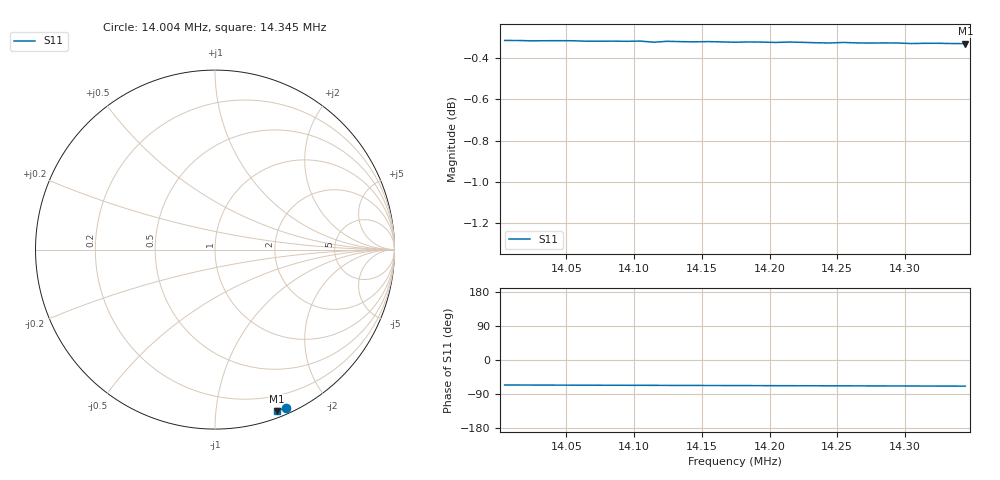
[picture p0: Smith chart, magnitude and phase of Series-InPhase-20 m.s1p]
# HZ S RI R 50
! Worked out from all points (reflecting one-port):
!   35 points, 14.004 MHz to 14.345 MHz, reference 50 ohm
!   lowest |S11| = -0.3 dB at 14.345 MHz (marker M1), VSWR 52.88, Z = 2.95 - j72.7 ohm
!   phase of S11 starts at -66 deg and turns -3 deg over the sweep
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1.40044e7  0.3931 -0.8809
1.402441e7  0.3903 -0.8819
1.405442e7  0.3863 -0.8837
1.406442e7  0.3848 -0.8841
1.409444e7  0.3807 -0.8858
1.410444e7  0.3793 -0.8865
1.411444e7  0.3776 -0.8866
1.412445e7  0.3765 -0.8876
1.413445e7  0.3752 -0.8879
1.414446e7  0.3737 -0.8885
1.415446e7  0.3723 -0.8892
1.416446e7  0.371 -0.8896
1.417447e7  0.3694 -0.89
1.418447e7  0.3681 -0.8907
1.419448e7  0.3668 -0.8912
1.420448e7  0.3653 -0.8916
1.421448e7  0.364 -0.8924
1.422449e7  0.3626 -0.8928
1.42445e7  0.3595 -0.8936
1.42545e7  0.3584 -0.8944
1.42645e7  0.3569 -0.8947
1.427451e7  0.3554 -0.8953
1.428451e7  0.354 -0.8959
1.429452e7  0.3527 -0.8963
1.430452e7  0.3512 -0.8966
1.431452e7  0.3497 -0.8973
1.433453e7  0.3471 -0.8982
1.434454e7  0.3454 -0.8988
